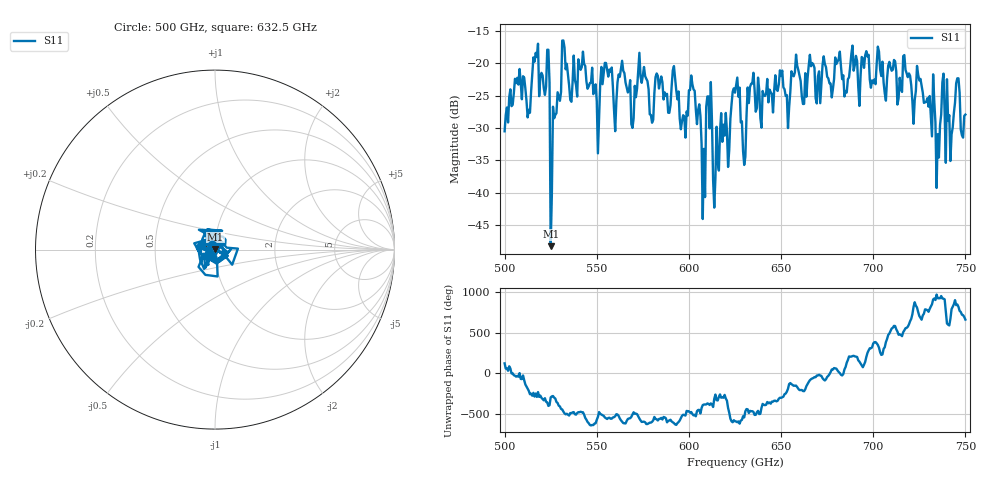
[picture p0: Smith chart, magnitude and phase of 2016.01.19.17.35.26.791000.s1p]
!Created with skrf (http://scikit-rf.org).
# GHz S RI R 50.0
!freq ReS11 ImS11
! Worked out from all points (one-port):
!   401 points, 500 GHz to 750 GHz, reference 50 ohm
!   lowest |S11| = -48.3 dB at 525 GHz (marker M1), VSWR 1.01, Z = 50.2 + j0.345 ohm
!   |S11| at or under -10 dB: start of sweep to end of sweep
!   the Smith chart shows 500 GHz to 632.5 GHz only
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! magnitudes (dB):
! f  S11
! 500 GHz  -30.5
! 506.9 GHz  -22.2
! 513.1 GHz  -27.2
! 516.9 GHz  -18.4
! 523.1 GHz  -17.9
! 525 GHz  -48.3
! 526.2 GHz  -26.7
! 531.2 GHz  -16.5
! 550 GHz  -25.8
! 562.5 GHz  -22.1
! 570 GHz  -28.5
! 574.4 GHz  -23.0
! 579.4 GHz  -28.0
! 593.8 GHz  -25.6
! 596.9 GHz  -28.0
! 601.9 GHz  -23.2
! 607.5 GHz  -44.1
! 610.6 GHz  -25.1
! 614.4 GHz  -37.7
! 625 GHz  -24.5
! 629.4 GHz  -33.6
! 634.4 GHz  -23.1
! 656.2 GHz  -21.7
! 687.5 GHz  -20.5
! 718.8 GHz  -22.1
! 735 GHz  -31.0
! 745.6 GHz  -22.3
! 750 GHz  -27.9
